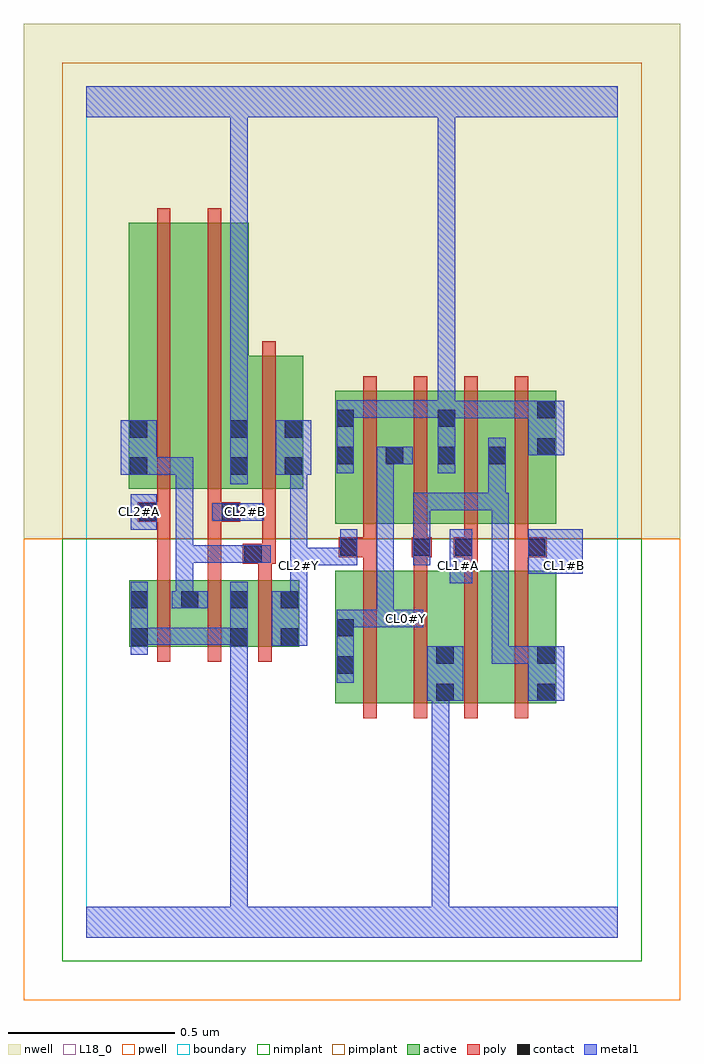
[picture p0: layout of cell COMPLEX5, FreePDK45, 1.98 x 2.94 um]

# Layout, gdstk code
import gdstk
lib = gdstk.Library(unit=1e-6, precision=1e-09)
def R(c, l, rs):  # rectangles x0, y0, x1, y1
    for r in rs: c.add(gdstk.rectangle(r[:2], r[2:], *l))
def A(c, l, x, y, w, h, nx, ny, dx, dy):  # array of equal rectangles
    R(c, l, [(x+i*dx, y+j*dy, x+i*dx+w, y+j*dy+h) for i in range(nx) for j in range(ny)])
active = (1, 0)
pwell = (2, 0)
nwell = (3, 0)
nimplant = (4, 0)
pimplant = (5, 0)
poly = (9, 0)
contact = (10, 0)
metal1 = (11, 0)
L18_0 = (18, 0)
boundary = (235, 0)

complex5 = lib.new_cell('COMPLEX5')
R(complex5, active, [(0.75,0.704,0.93,1.104), (0.93,0.704,1.11,1.104), (1.05,0.704,1.234,1.104), (1.234,0.704,1.414,1.104), (1.05,0.708,1.11,1.104), (1.354,0.708,1.414,1.104), (0.75,0.756,0.81,1.104), (0.13,0.874,0.19,1.074), (0.13,0.874,0.342,1.074), (0.282,0.874,0.49,1.074), (0.43,0.874,0.49,1.074), (0.43,0.874,0.642,1.074), (0.582,0.874,0.642,1.074), (0.282,0.956,0.342,1.074), (0.75,1.244,0.81,1.644), (0.75,1.244,0.958,1.644), (0.898,1.244,0.958,1.644), (0.898,1.244,1.114,1.644), (1.054,1.244,1.114,1.644), (1.054,1.244,1.266,1.644), (1.206,1.244,1.266,1.644), (1.206,1.244,1.414,1.644), (1.354,1.244,1.414,1.644), (0.128,1.35,0.31,2.15), (0.128,1.35,0.188,2.044), (0.31,1.35,0.49,2.15), (0.43,1.35,0.49,1.644), (0.43,1.35,0.654,1.75), (0.594,1.35,0.654,1.644)])
R(complex5, pwell, [(-0.188,-0.188,1.788,1.2)])
R(complex5, nwell, [(-0.188,1.2,1.788,2.748)])
R(complex5, nimplant, [(-0.072,-0.072,1.672,1.2)])
R(complex5, pimplant, [(-0.072,1.2,1.672,2.632)])
A(complex5, poly, 0.834, 0.66, 0.04, 0.488, 4, 2, 0.152, 0.54)
A(complex5, poly, 0.214, 0.83, 0.04, 0.288, 3, 1, 0.152, 0)
A(complex5, poly, 0.834, 1.108, 0.04, 0.076, 4, 2, 0.152, 0.056)
R(complex5, poly, [(0.214,1.078,0.254,1.29), (0.366,1.078,0.406,1.29), (0.518,1.078,0.558,1.164), (0.472,1.124,0.57,1.184), (0.53,1.144,0.57,1.184), (0.53,1.144,0.57,1.184), (0.53,1.144,0.57,1.346), (0.76,1.144,0.874,1.204), (0.98,1.144,1.04,1.204), (0.986,1.144,1.026,1.184), (0.986,1.144,1.026,1.184), (1.106,1.144,1.178,1.204), (1.29,1.144,1.33,1.184), (1.29,1.144,1.33,1.184), (1.29,1.144,1.386,1.204), (0.834,1.164,0.874,1.204), (0.834,1.164,0.874,1.204), (1.138,1.164,1.178,1.204), (1.138,1.164,1.178,1.204), (0.156,1.25,0.254,1.31), (0.366,1.25,0.406,1.29), (0.366,1.25,0.406,1.29), (0.366,1.25,0.464,1.31), (0.214,1.27,0.254,1.346), (0.214,1.27,0.254,1.31), (0.214,1.27,0.254,1.31), (0.366,1.27,0.406,1.346), (0.214,1.306,0.254,2.194), (0.366,1.306,0.406,2.194), (0.53,1.306,0.57,1.794)])
R(complex5, contact, [(1.054,0.712,1.106,0.764), (1.358,0.712,1.41,0.764), (0.754,0.794,0.806,0.846), (1.054,0.824,1.106,0.876), (1.358,0.824,1.41,0.876), (0.134,0.878,0.186,0.93), (0.434,0.878,0.486,0.93), (0.586,0.878,0.638,0.93), (0.754,0.906,0.806,0.958), (0.134,0.99,0.186,1.042), (0.286,0.99,0.338,1.042), (0.434,0.99,0.486,1.042), (0.586,0.99,0.638,1.042), (0.476,1.128,0.528,1.18), (0.764,1.148,0.816,1.2), (0.984,1.148,1.036,1.2), (1.11,1.148,1.162,1.2), (1.33,1.148,1.382,1.2), (0.16,1.254,0.212,1.306), (0.408,1.254,0.46,1.306), (0.132,1.392,0.184,1.444), (0.434,1.392,0.486,1.444), (0.598,1.392,0.65,1.444), (0.754,1.424,0.806,1.476), (0.902,1.424,0.954,1.476), (1.058,1.424,1.11,1.476), (1.21,1.424,1.262,1.476), (1.358,1.45,1.41,1.502), (0.132,1.504,0.184,1.556), (0.434,1.504,0.486,1.556), (0.598,1.504,0.65,1.556), (0.754,1.536,0.806,1.588), (1.058,1.536,1.11,1.588), (1.358,1.562,1.41,1.614)])
R(complex5, metal1, [(0,0,1.6,0.092), (0.434,0.04,0.486,0.092), (0.434,0.04,0.486,0.092), (0.434,0.04,0.486,0.092), (0.434,0.04,0.486,0.092), (0.434,0.04,0.486,0.092), (0.434,0.04,0.486,0.092), (0.434,0.04,0.486,0.092), (0.434,0.04,0.486,0.092), (0.434,0.04,0.486,0.092), (0.434,0.04,0.486,0.092), (0.434,0.04,0.486,0.092), (0.434,0.04,0.486,0.092), (0.434,0.04,0.486,0.902), (1.04,0.04,1.092,0.764), (1.026,0.712,1.134,0.876), (1.04,0.712,1.092,0.764), (1.04,0.712,1.092,0.764), (1.04,0.712,1.092,0.764), (1.04,0.712,1.092,0.764), (1.04,0.712,1.092,0.764), (1.04,0.712,1.092,0.764), (1.04,0.712,1.092,0.764), (1.04,0.712,1.092,0.764), (1.04,0.712,1.092,0.764), (1.04,0.712,1.092,0.764), (1.04,0.712,1.092,0.764), (1.04,0.712,1.092,0.764), (1.33,0.712,1.438,0.876), (0.754,0.766,0.806,0.986), (1.22,0.824,1.272,0.876), (1.22,0.824,1.382,0.876), (1.22,0.824,1.272,1.338), (1.33,0.824,1.382,0.876), (1.33,0.824,1.382,0.876), (1.33,0.824,1.382,0.876), (1.33,0.824,1.382,0.876), (0.134,0.85,0.186,1.07), (0.434,0.85,0.486,0.902), (0.434,0.85,0.486,0.902), (0.434,0.85,0.486,0.902), (0.434,0.85,0.486,0.902), (0.434,0.85,0.486,1.07), (0.558,0.878,0.666,1.042), (0.134,0.88,0.186,0.932), (0.134,0.88,0.186,0.932), (0.134,0.88,0.376,0.932), (0.324,0.88,0.376,0.932), (0.324,0.88,0.376,0.932), (0.324,0.88,0.376,0.932), (0.324,0.88,0.486,0.932), (0.754,0.934,0.806,0.986), (0.754,0.934,0.806,0.986), (0.754,0.934,0.926,0.986), (0.874,0.934,0.926,0.986), (0.874,0.934,0.926,0.986), (0.874,0.934,0.926,1.476), (0.874,0.934,1.014,0.986), (0.258,0.99,0.366,1.042), (0.27,0.99,0.322,1.18), (0.614,0.99,0.666,1.118), (0.614,1.066,0.666,1.174), (1.094,1.066,1.162,1.228), (1.33,1.094,1.494,1.228), (0.614,1.12,0.666,1.172), (0.614,1.12,0.666,1.172), (0.614,1.12,0.816,1.172), (0.764,1.12,0.816,1.228), (0.984,1.12,1.036,1.228), (0.614,1.122,0.666,1.174), (0.614,1.122,0.666,1.174), (0.614,1.122,0.666,1.444), (0.27,1.128,0.322,1.18), (0.27,1.128,0.322,1.18), (0.27,1.128,0.322,1.18), (0.27,1.128,0.5,1.18), (0.27,1.128,0.322,1.444), (0.448,1.128,0.5,1.18), (0.448,1.128,0.5,1.18), (0.448,1.128,0.556,1.18), (0.984,1.176,1.036,1.228), (0.984,1.176,1.036,1.338), (0.134,1.226,0.212,1.334), (0.38,1.254,0.534,1.306), (0.984,1.286,1.262,1.338), (1.21,1.286,1.262,1.338), (1.21,1.286,1.262,1.338), (1.21,1.286,1.262,1.448), (1.21,1.286,1.272,1.338), (0.434,1.364,0.486,1.584), (0.104,1.392,0.212,1.556), (0.148,1.392,0.2,1.444), (0.148,1.392,0.2,1.444), (0.148,1.392,0.2,1.444), (0.148,1.392,0.2,1.444), (0.148,1.392,0.322,1.444), (0.27,1.392,0.322,1.444), (0.57,1.392,0.678,1.556), (0.754,1.396,0.806,1.616), (1.058,1.396,1.11,1.616), (1.21,1.396,1.262,1.504), (0.874,1.424,0.926,1.476), (0.874,1.424,0.926,1.476), (0.874,1.424,0.982,1.476), (1.33,1.45,1.438,1.614), (0.434,1.532,0.486,1.584), (0.434,1.532,0.486,1.584), (0.434,1.532,0.486,2.52), (1.058,1.562,1.244,1.614), (1.192,1.562,1.244,1.614), (1.192,1.562,1.244,1.614), (1.192,1.562,1.244,1.614), (1.192,1.562,1.382,1.614), (1.33,1.562,1.382,1.614), (1.33,1.562,1.382,1.614), (0.754,1.564,0.806,1.616), (0.754,1.564,0.806,1.616), (0.754,1.564,0.926,1.616), (0.874,1.564,0.926,1.616), (0.874,1.564,0.926,1.616), (0.874,1.564,0.926,1.616), (0.874,1.564,1.11,1.616), (1.058,1.564,1.11,2.52), (0,2.468,1.6,2.56), (0.434,2.468,0.486,2.52), (0.434,2.468,0.486,2.52), (0.434,2.468,0.486,2.52), (0.434,2.468,0.486,2.52), (0.434,2.468,0.486,2.52), (0.434,2.468,0.486,2.52), (1.058,2.468,1.11,2.52), (1.058,2.468,1.11,2.52), (1.058,2.468,1.11,2.52), (1.058,2.468,1.11,2.52), (1.058,2.468,1.11,2.52), (1.058,2.468,1.11,2.52), (1.058,2.468,1.11,2.52), (1.058,2.468,1.11,2.52), (1.058,2.468,1.11,2.52), (1.058,2.468,1.11,2.52), (1.058,2.468,1.11,2.52), (1.058,2.468,1.11,2.52), (1.058,2.468,1.11,2.52), (1.058,2.468,1.11,2.52), (1.058,2.468,1.11,2.52), (1.058,2.468,1.11,2.52)])
R(complex5, L18_0, [(0,0,1.6,0.092), (0.434,0.04,0.486,0.092), (0.434,0.04,0.486,0.092), (0.434,0.04,0.486,0.092), (0.434,0.04,0.486,0.092), (0.434,0.04,0.486,0.092), (0.434,0.04,0.486,0.092), (0.434,0.04,0.486,0.092), (0.434,0.04,0.486,0.092), (0.434,0.04,0.486,0.092), (0.434,0.04,0.486,0.092), (0.434,0.04,0.486,0.092), (0.434,0.04,0.486,0.092), (0.434,0.04,0.486,0.902), (1.04,0.04,1.092,0.764), (1.026,0.712,1.134,0.876), (1.04,0.712,1.092,0.764), (1.04,0.712,1.092,0.764), (1.04,0.712,1.092,0.764), (1.04,0.712,1.092,0.764), (1.04,0.712,1.092,0.764), (1.04,0.712,1.092,0.764), (1.04,0.712,1.092,0.764), (1.04,0.712,1.092,0.764), (1.04,0.712,1.092,0.764), (1.04,0.712,1.092,0.764), (1.04,0.712,1.092,0.764), (1.04,0.712,1.092,0.764), (0.754,0.766,0.806,0.986), (0.134,0.85,0.186,1.07), (0.434,0.85,0.486,1.07), (0.434,0.85,0.486,0.902), (0.434,0.85,0.486,0.902), (0.434,0.85,0.486,0.902), (0.434,0.85,0.486,0.902), (0.558,0.878,0.666,1.042), (0.134,0.88,0.186,0.932), (0.134,0.88,0.186,0.932), (0.134,0.88,0.376,0.932), (0.324,0.88,0.376,0.932), (0.324,0.88,0.376,0.932), (0.324,0.88,0.376,0.932), (0.324,0.88,0.486,0.932), (0.754,0.934,0.806,0.986), (0.754,0.934,0.806,0.986), (0.754,0.934,0.926,0.986), (0.874,0.934,0.926,0.986), (0.874,0.934,0.926,0.986), (0.874,0.934,1.014,0.986), (0.874,0.934,0.926,1.476), (0.934,0.934,0.986,0.986), (0.614,0.99,0.666,1.118), (0.614,1.066,0.666,1.174), (1.094,1.066,1.162,1.228), (0.614,1.094,0.666,1.146), (1.094,1.094,1.146,1.146), (1.33,1.094,1.494,1.228), (1.414,1.094,1.466,1.146), (0.614,1.12,0.666,1.172), (0.614,1.12,0.666,1.172), (0.614,1.12,0.816,1.172), (0.764,1.12,0.816,1.228), (0.614,1.122,0.666,1.174), (0.614,1.122,0.666,1.174), (0.614,1.122,0.666,1.444), (0.134,1.226,0.212,1.334), (0.134,1.254,0.186,1.306), (0.38,1.254,0.534,1.306), (0.454,1.254,0.506,1.306), (0.434,1.364,0.486,1.584), (0.57,1.392,0.678,1.556), (0.754,1.396,0.806,1.616), (1.058,1.396,1.11,1.616), (0.874,1.424,0.926,1.476), (0.874,1.424,0.926,1.476), (0.874,1.424,0.982,1.476), (1.33,1.45,1.438,1.614), (0.434,1.532,0.486,1.584), (0.434,1.532,0.486,1.584), (0.434,1.532,0.486,2.52), (1.058,1.562,1.244,1.614), (1.192,1.562,1.244,1.614), (1.192,1.562,1.244,1.614), (1.192,1.562,1.244,1.614), (1.192,1.562,1.382,1.614), (1.33,1.562,1.382,1.614), (1.33,1.562,1.382,1.614), (0.754,1.564,0.806,1.616), (0.754,1.564,0.806,1.616), (0.754,1.564,0.926,1.616), (0.874,1.564,0.926,1.616), (0.874,1.564,0.926,1.616), (0.874,1.564,0.926,1.616), (0.874,1.564,1.11,1.616), (1.058,1.564,1.11,2.52), (0,2.468,1.6,2.56), (0.434,2.468,0.486,2.52), (0.434,2.468,0.486,2.52), (0.434,2.468,0.486,2.52), (0.434,2.468,0.486,2.52), (0.434,2.468,0.486,2.52), (0.434,2.468,0.486,2.52), (1.058,2.468,1.11,2.52), (1.058,2.468,1.11,2.52), (1.058,2.468,1.11,2.52), (1.058,2.468,1.11,2.52), (1.058,2.468,1.11,2.52), (1.058,2.468,1.11,2.52), (1.058,2.468,1.11,2.52), (1.058,2.468,1.11,2.52), (1.058,2.468,1.11,2.52), (1.058,2.468,1.11,2.52), (1.058,2.468,1.11,2.52), (1.058,2.468,1.11,2.52), (1.058,2.468,1.11,2.52), (1.058,2.468,1.11,2.52), (1.058,2.468,1.11,2.52), (1.058,2.468,1.11,2.52)])
R(complex5, boundary, [(0,0,1.6,2.56)])
complex5.add(gdstk.Label('CL0#Y', (0.96,0.96), layer=11, texttype=0))
complex5.add(gdstk.Label('CL1#A', (1.12,1.12), layer=11, texttype=0))
complex5.add(gdstk.Label('CL1#B', (1.44,1.12), layer=11, texttype=0))
complex5.add(gdstk.Label('CL2#A', (0.16,1.28), layer=11, texttype=0))
complex5.add(gdstk.Label('CL2#B', (0.48,1.28), layer=11, texttype=0))
complex5.add(gdstk.Label('CL2#Y', (0.64,1.12), layer=11, texttype=0))

lib.write_gds('COMPLEX5.gds')
